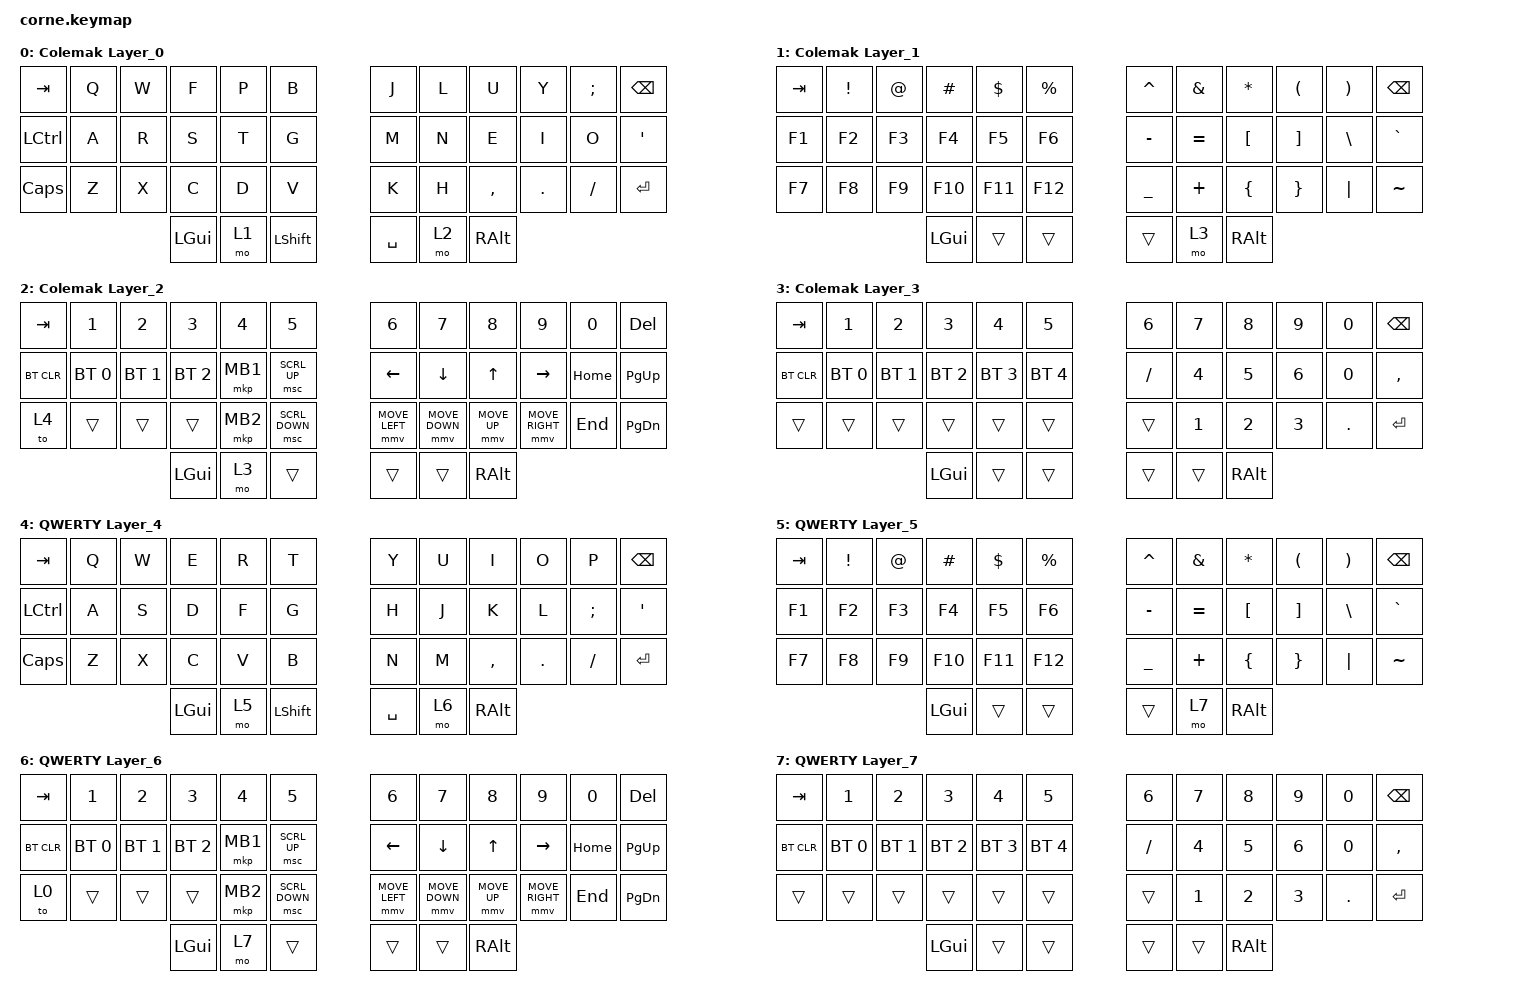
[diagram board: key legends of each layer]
/*
 * Copyright (c) 2020 The ZMK Contributors
 *
 * SPDX-License-Identifier: MIT
 */

#include <behaviors.dtsi>
#include <dt-bindings/zmk/keys.h>
#include <dt-bindings/zmk/bt.h>
#include <dt-bindings/zmk/mouse.h>
#include <dt-bindings/zmk/pointing.h>

#define ZMK_POINTING_DEFAULT_MOVE_VAL 800  // default: 600
#define ZMK_POINTING_DEFAULT_SCRL_VAL 20    // default: 10

/ {
    combos {
        compatible = "zmk,combos";

        combo_esc {
            timeout-ms = <50>;
            key-positions = <19 20>;
            bindings = <&kp ESC>;
        };
        combo_enter {
            timeout-ms = <50>;
            key-positions = <31 32>;
            bindings = <&kp ENTER>;
        };
        combo_backspace {
            timeout-ms = <50>;
            key-positions = <7 8>;
            bindings = <&kp BSPC>;
        };
        combo_tab {
            timeout-ms = <50>;
            key-positions = <15 16>;
            bindings = <&kp TAB>;
        };
        combo_rshift {
            timeout-ms = <50>;
            key-positions = <34 35>;
            bindings = <&kp RSHIFT>;
        };
        combo_delete {
            timeout-ms = <50>;
            key-positions = <7 8 9>;
            bindings = <&kp DEL>;
        };
    };

        keymap {
                compatible = "zmk,keymap";

                colemak_layer_0_0 {
                        display-name = "Colemak Layer_0";
// -----------------------------------------------------------------------------------------
// |  TAB |  Q  |  W  |  E  |  R  |  T  |   |  Y  |  U   |  I  |  O  |  P  | BSPC |
// | CTRL |  A  |  S  |  D  |  F  |  G  |   |  H  |  J   |  K  |  L  |  ;  |  '   |
// | SHFT |  Z  |  X  |  C  |  V  |  B  |   |  N  |  M   |  ,  |  .  |  /  | ESC  |
//                    | GUI | LWR | SPC |   | ENT | RSE  | ALT |
                        bindings = <
   &kp TAB   &kp Q &kp W &kp F &kp P &kp B   &kp J &kp L  &kp U     &kp Y   &kp SEMI &kp BSPC
   &kp LCTRL &kp A &kp R &kp S &kp T &kp G   &kp M &kp N  &kp E     &kp I   &kp O    &kp SQT
   &kp CAPS  &kp Z &kp X &kp C &kp D &kp V   &kp K &kp H  &kp COMMA &kp DOT &kp FSLH &kp ENTER
                      &kp LGUI &mo 1 &kp LSHIFT   &kp SPACE &mo 2 &kp RALT
                        >;
                };
                colemak_layer_0_1 {
                        display-name = "Colemak Layer_1";
// -----------------------------------------------------------------------------------------
// |  TAB |  !  |  @  |  #  |  $  |  %  |   |  ^  |  &  |  *  |  (  |  )  | BSPC |
// | CTRL |     |     |     |     |     |   |  -  |  =  |  [  |  ]  |  \  |  `   |
// | SHFT |     |     |     |     |     |   |  _  |  +  |  {  |  }  | "|" |  ~   |
//                    | GUI |     | SPC |   | ENT |     | ALT |
                        bindings = <
   &kp  TAB  &kp EXCL &kp AT &kp HASH &kp DLLR &kp PRCNT   &kp CARET &kp AMPS  &kp ASTRK &kp LPAR &kp RPAR &kp BSPC
   &kp F1    &kp F2   &kp F3 &kp F4   &kp F5   &kp F6      &kp MINUS &kp EQUAL &kp LBKT  &kp RBKT &kp BSLH &kp GRAVE
   &kp F7    &kp F8   &kp F9 &kp F10  &kp F11  &kp F12     &kp UNDER &kp PLUS  &kp LBRC  &kp RBRC &kp PIPE &kp TILDE
                             &kp LGUI &trans   &trans      &trans    &mo 3    &kp RALT
                        >;
                };
                colemak_layer_0_2 {
                        display-name = "Colemak Layer_2";
// -----------------------------------------------------------------------------------------
// |  TAB |  1  |  2  |  3  |  4  |  5  |   |  6  |  7  |  8  |  9  |  0  | BSPC |
// | BTCLR| BT1 | BT2 | BT3 | BT4 | BT5 |   | LFT | DWN |  UP | RGT |     |      |
// | SHFT |     |     |     |     |     |   |     |     |     |     |     |      |
//                    | GUI |     | SPC |   | ENT |     | ALT |
                        bindings = <
   &kp TAB    &kp N1       &kp N2       &kp N3       &kp N4    &kp N5         &kp N6         &kp N7         &kp N8       &kp N9          &kp N0 &kp DEL
   &bt BT_CLR &bt BT_SEL 0 &bt BT_SEL 1 &bt BT_SEL 2 &mkp MB1  &msc SCRL_UP   &kp LEFT       &kp DOWN       &kp UP       &kp RIGHT       &kp HOME &kp PG_UP
   &to 4      &trans       &trans       &trans       &mkp MB2  &msc SCRL_DOWN &mmv MOVE_LEFT &mmv MOVE_DOWN &mmv MOVE_UP &mmv MOVE_RIGHT &kp END  &kp PG_DN
                                        &kp LGUI     &mo 3     &trans         &trans         &trans         &kp RALT
                        >;
                };

                colemak_layer_0_3 {
                        display-name = "Colemak Layer_3";
// -----------------------------------------------------------------------------------------
// |  TAB |  1  |  2  |  3  |  4  |  5  |   |  6  |  7  |  8  |  9  |     | BSPC |
// | BTCLR| BT1 | BT2 | BT3 | BT4 | BT5 |   | LFT |  4  |  5  |  6  |  0  |  ,   |
// | SHFT |     |     |     |     |     |   |     |     |     |     |  .  | ENT  |
//                    | GUI |     | SPC |   | ENT |     | ALT |
                        bindings = <
   &kp TAB    &kp N1       &kp N2       &kp N3       &kp N4       &kp N5         &kp N6    &kp N7   &kp N8 &kp N9  &kp N0  &kp BSPC
   &bt BT_CLR &bt BT_SEL 0 &bt BT_SEL 1 &bt BT_SEL 2 &bt BT_SEL 3 &bt BT_SEL 4   &kp FSLH  &kp N4   &kp N5 &kp N6  &kp N0  &kp COMMA
   &trans     &trans       &trans       &trans       &trans       &trans         &trans    &kp N1   &kp N2 &kp N3  &kp DOT &kp ENTER
                                        &kp LGUI     &trans       &trans         &trans    &trans   &kp RALT
                        >;
                };
                QWERTY_layer_1_0 {
                        display-name = "QWERTY Layer_4";
// -----------------------------------------------------------------------------------------
// |  TAB |  Q  |  W  |  E  |  R  |  T  |   |  Y  |  U   |  I  |  O  |  P  | BSPC |
// | CTRL |  A  |  S  |  D  |  F  |  G  |   |  H  |  J   |  K  |  L  |  ;  |  '   |
// | SHFT |  Z  |  X  |  C  |  V  |  B  |   |  N  |  M   |  ,  |  .  |  /  | ENTER|
//                    | GUI | LWR | SPC |   | ENT | RSE  | ALT |
                        bindings = <
   &kp TAB   &kp Q &kp W &kp E &kp R &kp T   &kp Y &kp U  &kp I     &kp O   &kp P    &kp BSPC
   &kp LCTRL &kp A &kp S &kp D &kp F &kp G   &kp H &kp J  &kp K     &kp L   &kp SEMI &kp SQT
   &kp CAPS  &kp Z &kp X &kp C &kp V &kp B   &kp N &kp M  &kp COMMA &kp DOT &kp FSLH &kp ENTER
                  &kp LGUI &mo 5 &kp LSHFT   &kp SPACE    &mo 6     &kp RALT
                        >;
                };
                QWERTY_layer_1_1 {
                        display-name = "QWERTY Layer_5";
// -----------------------------------------------------------------------------------------
// |  TAB |  !  |  @  |  #  |  $  |  %  |   |  ^  |  &  |  *  |  (  |  )  | BSPC |
// | CTRL |     |     |     |     |     |   |  -  |  =  |  [  |  ]  |  \  |  `   |
// | SHFT |     |     |     |     |     |   |  _  |  +  |  {  |  }  | "|" |  ~   |
//                    | GUI |     | SPC |   | ENT |     | ALT |
                        bindings = <
   &kp  TAB  &kp EXCL &kp AT &kp HASH &kp DLLR &kp PRCNT   &kp CARET &kp AMPS  &kp ASTRK &kp LPAR &kp RPAR &kp BSPC
   &kp F1    &kp F2   &kp F3 &kp F4   &kp F5   &kp F6      &kp MINUS &kp EQUAL &kp LBKT  &kp RBKT &kp BSLH &kp GRAVE
   &kp F7    &kp F8   &kp F9 &kp F10  &kp F11  &kp F12     &kp UNDER &kp PLUS  &kp LBRC  &kp RBRC &kp PIPE &kp TILDE
                             &kp LGUI &trans   &trans      &trans    &mo 7    &kp RALT
                        >;
                };

                QWERTY_layer_1_2 {
                        display-name = "QWERTY Layer_6";
// -----------------------------------------------------------------------------------------
// |  TAB |  1  |  2  |  3  |  4  |  5  |   |  6  |  7  |  8  |  9  |  0  | BSPC |
// | BTCLR| BT1 | BT2 | BT3 | BT4 | BT5 |   | LFT | DWN |  UP | RGT |     |      |
// | SHFT |     |     |     |     |     |   |     |     |     |     |     |      |
//                    | GUI |     | SPC |   | ENT |     | ALT |
                        bindings = <
   &kp TAB    &kp N1       &kp N2       &kp N3       &kp N4    &kp N5         &kp N6         &kp N7         &kp N8       &kp N9          &kp N0 &kp DEL
   &bt BT_CLR &bt BT_SEL 0 &bt BT_SEL 1 &bt BT_SEL 2 &mkp MB1  &msc SCRL_UP   &kp LEFT       &kp DOWN       &kp UP       &kp RIGHT       &kp HOME &kp PG_UP
   &to 0      &trans       &trans       &trans       &mkp MB2  &msc SCRL_DOWN &mmv MOVE_LEFT &mmv MOVE_DOWN &mmv MOVE_UP &mmv MOVE_RIGHT &kp END  &kp PG_DN
                                        &kp LGUI     &mo 7     &trans         &trans         &trans         &kp RALT
                        >;
                };

                QWERTY_layer_1_3 {
                        display-name = "QWERTY Layer_7";
// -----------------------------------------------------------------------------------------
// |  TAB |  1  |  2  |  3  |  4  |  5  |   |  6  |  7  |  8  |  9  |     | BSPC |
// | BTCLR| BT1 | BT2 | BT3 | BT4 | BT5 |   | LFT |  4  |  5  |  6  |  0  |  ,   |
// | SHFT |     |     |     |     |     |   |     |     |     |     |  .  | ENT  |
//                    | GUI |     | SPC |   | ENT |     | ALT |
                        bindings = <
   &kp TAB    &kp N1       &kp N2       &kp N3       &kp N4       &kp N5         &kp N6   &kp N7   &kp N8 &kp N9  &kp N0  &kp BSPC
   &bt BT_CLR &bt BT_SEL 0 &bt BT_SEL 1 &bt BT_SEL 2 &bt BT_SEL 3 &bt BT_SEL 4   &kp FSLH &kp N4   &kp N5 &kp N6  &kp N0  &kp COMMA
   &trans     &trans       &trans       &trans       &trans       &trans         &trans   &kp N1   &kp N2 &kp N3  &kp DOT &kp ENTER
                                        &kp LGUI     &trans       &trans         &trans   &trans   &kp RALT
                        >;
                };
        };
};
